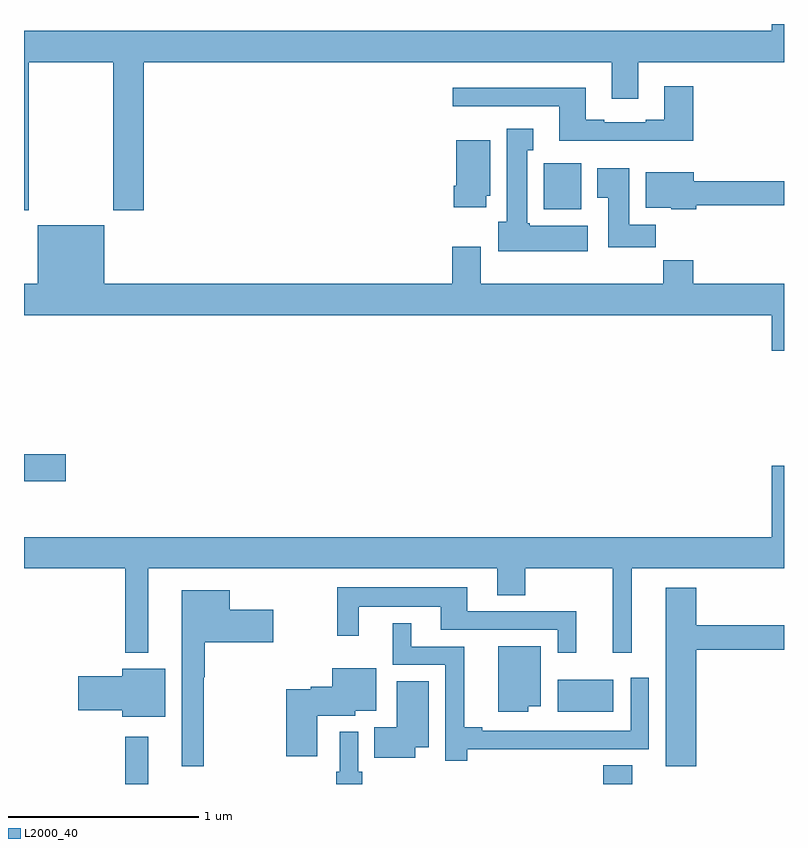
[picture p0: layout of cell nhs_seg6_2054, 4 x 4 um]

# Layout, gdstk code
import gdstk
lib = gdstk.Library(unit=1e-6, precision=1e-09)
def R(c, l, rs):  # rectangles x0, y0, x1, y1
    for r in rs: c.add(gdstk.rectangle(r[:2], r[2:], *l))
def P(c, l, *ps):  # polygons
    for p in ps: c.add(gdstk.Polygon(p, *l))
L2000_40 = (2000, 40)

nhs_seg6_2054 = lib.new_cell('nhs_seg6_2054')
R(nhs_seg6_2054, L2000_40, [(233.532,979.5,233.653,979.75), (236.048,979.5,236.2,979.598), (235.808,979.88,236.101,980.05), (233,981.094,233.221,981.236), (235.736,982.526,235.933,982.768)])
P(nhs_seg6_2054, L2000_40, [(233.025,983.3),(233.47,983.3),(233.47,982.521),(233.63,982.521),(233.63,983.3),(236.093,983.3),(236.093,983.106),(236.233,983.106),(236.233,983.3),(237,983.3),(237,983.5),(236.936,983.5),(236.936,983.464),(233,983.464),(233,982.521),(233.025,982.521)],
  [(236.522,983.173),(236.369,983.173),(236.369,982.996),(236.273,982.996),(236.273,982.983),(236.053,982.983),(236.053,982.996),(235.957,982.996),(235.957,983.164),(235.257,983.164),(235.257,983.067),(235.817,983.067),(235.817,982.886),(236.522,982.886)],
  [(235.966,982.438),(235.662,982.438),(235.662,982.452),(235.648,982.452),(235.648,982.835),(235.681,982.835),(235.681,982.948),(235.541,982.948),(235.541,982.458),(235.496,982.458),(235.496,982.304),(235.966,982.304)],
  [(235.432,982.596),(235.453,982.596),(235.453,982.888),(235.274,982.888),(235.274,982.648),(235.262,982.648),(235.262,982.536),(235.432,982.536)],
  [(236.324,982.444),(236.185,982.444),(236.185,982.741),(236.018,982.741),(236.018,982.585),(236.075,982.585),(236.075,982.326),(236.324,982.326)],
  [(236.537,982.545),(237,982.545),(237,982.673),(236.524,982.673),(236.524,982.72),(236.273,982.72),(236.273,982.532),(236.406,982.532),(236.406,982.526),(236.537,982.526)],
  [(237,982.132),(236.522,982.132),(236.522,982.256),(236.365,982.256),(236.365,982.132),(235.405,982.132),(235.405,982.327),(235.253,982.327),(235.253,982.132),(233.422,982.132),(233.422,982.441),(233.072,982.441),(233.072,982.132),(233,982.132),(233,981.968),(236.936,981.968),(236.936,981.78),(237,981.78)],
  [(236.198,980.636),(237,980.636),(237,981.175),(236.936,981.175),(236.936,980.8),(233,980.8),(233,980.636),(233.532,980.636),(233.532,980.192),(233.653,980.192),(233.653,980.636),(235.49,980.636),(235.49,980.494),(235.638,980.494),(235.638,980.636),(236.099,980.636),(236.099,980.19),(236.198,980.19)],
  [(235.907,980.409),(235.333,980.409),(235.333,980.536),(234.649,980.536),(234.649,980.28),(234.763,980.28),(234.763,980.432),(235.193,980.432),(235.193,980.313),(235.809,980.313),(235.809,980.19),(235.907,980.19)],
  [(236.537,980.206),(237,980.206),(237,980.335),(236.537,980.335),(236.537,980.533),(236.378,980.533),(236.378,979.593),(236.537,979.593)],
  [(233.945,980.062),(233.95,980.062),(233.95,980.246),(234.313,980.246),(234.313,980.416),(234.082,980.416),(234.082,980.521),(233.831,980.521),(233.831,979.593),(233.945,979.593)],
  [(235.334,979.682),(235.964,979.682),(235.964,979.683),(236.289,979.683),(236.289,980.059),(236.193,980.059),(236.193,979.779),(235.411,979.779),(235.411,979.799),(235.316,979.799),(235.316,980.223),(235.039,980.223),(235.039,980.347),(234.941,980.347),(234.941,980.127),(235.218,980.127),(235.218,979.623),(235.334,979.623)],
  [(235.654,979.91),(235.72,979.91),(235.72,980.224),(235.496,980.224),(235.496,979.88),(235.654,979.88)],
  [(234.544,979.859),(234.744,979.859),(234.744,979.886),(234.853,979.886),(234.853,980.11),(234.623,980.11),(234.623,980.012),(234.509,980.012),(234.509,979.999),(234.379,979.999),(234.379,979.647),(234.544,979.647)],
  [(233.743,980.107),(233.516,980.107),(233.516,980.066),(233.286,980.066),(233.286,979.888),(233.516,979.888),(233.516,979.853),(233.743,979.853)],
  [(235.06,979.694),(235.129,979.694),(235.129,980.042),(234.962,980.042),(234.962,979.798),(234.844,979.798),(234.844,979.637),(235.06,979.637)],
  [(234.779,979.564),(234.759,979.564),(234.759,979.774),(234.663,979.774),(234.663,979.564),(234.643,979.564),(234.643,979.5),(234.779,979.5)])

lib.write_gds('nhs_seg6_2054.gds')
